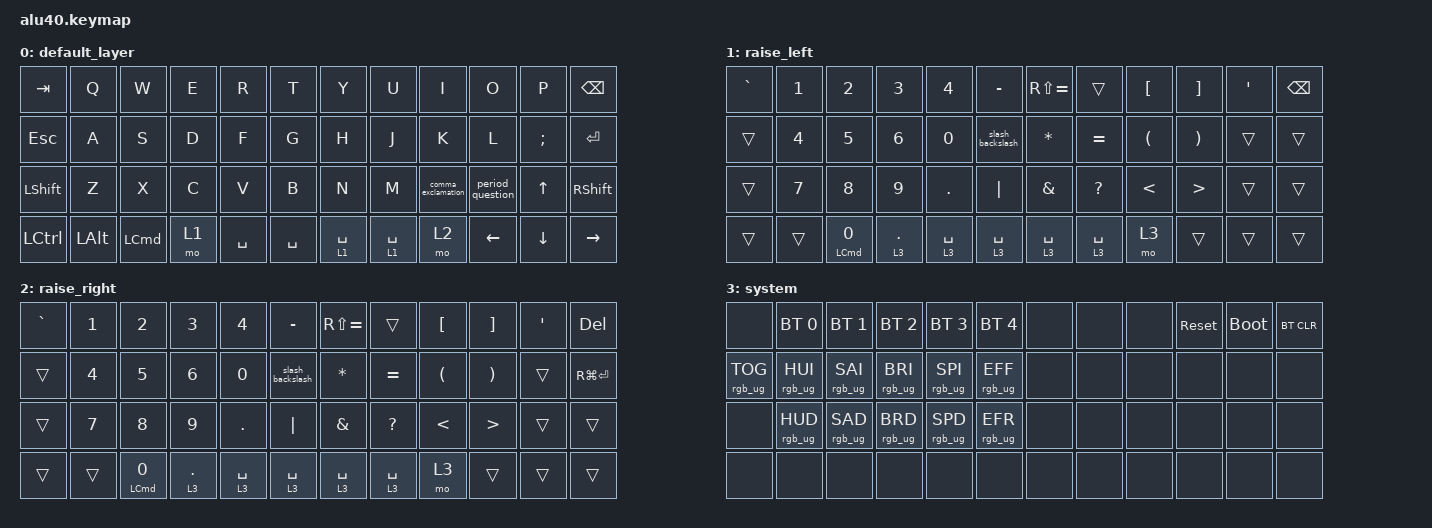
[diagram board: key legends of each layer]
/*
 * Copyright (c) 2022 The ZMK Contributors
 *
 * SPDX-License-Identifier: MIT
 */

#include <behaviors.dtsi>
#include <dt-bindings/zmk/bt.h>
#include <dt-bindings/zmk/keys.h>
#include <dt-bindings/zmk/rgb.h>

/ {
    behaviors {
        comma_exclamation: comma_exclamation {
            compatible = "zmk,behavior-mod-morph";
            label = "COMMA_EXCLAMATION";
            bindings = <&kp COMMA>, <&kp EXCL>;

            #binding-cells = <0>;
            mods = <(MOD_LSFT|MOD_RSFT)>;
        };

        period_question: period_question {
            compatible = "zmk,behavior-mod-morph";
            label = "PERIOD_QUESTION";
            bindings = <&kp PERIOD>, <&kp QUESTION>;

            #binding-cells = <0>;
            mods = <(MOD_LSFT|MOD_RSFT)>;
        };

        slash_backslash: slash_backslash {
            compatible = "zmk,behavior-mod-morph";
            label = "SLASH_BACKSLASH";
            bindings = <&kp SLASH>, <&kp BACKSLASH>;

            #binding-cells = <0>;
            mods = <(MOD_LSFT|MOD_RSFT)>;
        };

        layer_tap_rules: layer_tap_rules {
            compatible = "zmk,behavior-hold-tap";
            label = "LAYER_TAP_RULES";
            #binding-cells = <2>;
            bindings = <&lt>, <&kp>;

            tapping-term-ms = <200>;
            flavor = "balanced";
        };

        mod_tap_rules: mod_tap_rules {
            compatible = "zmk,behavior-hold-tap";
            label = "MOD_TAP_RULES";
            bindings = <&mt>, <&kp>;

            #binding-cells = <2>;
            tapping-term-ms = <200>;
            flavor = "balanced";
        };
    };

    keymap {
        compatible = "zmk,keymap";

        default_layer {
            // -----------------------------------------------------------------------------------------
            // | ESC/~ |  Q   |  W   |  E   |  R   |  T   |   Y   |  U    |  I   |  O   |   P   | BSPC  |
            // | TAB   |  A   |  S   |  D   |  F   |  G   |   H   |  J    |  K   |  L   |   ;   |  '    |
            // | SHIFT |  Z   |  X   |  C   |  V   |  B   |   N   |  M    |  ,   |  .   |   /   |RET/SFT|
            // | PLAY  | LCTL | LALT | LGUI | LOWR |     SPACE    |  RAIS | LARW | UARW | DARW  |  RARW |

            bindings = <
&kp TAB     &kp Q     &kp W     &kp E  &kp R      &kp T      &kp Y        &kp U        &kp I               &kp O             &kp P     &kp BSPC
&kp ESCAPE  &kp A     &kp S     &kp D  &kp F      &kp G      &kp H        &kp J        &kp K               &kp L             &kp SEMI  &kp ENTER
&kp LSHFT   &kp Z     &kp X     &kp C  &kp V      &kp B      &kp N        &kp M        &comma_exclamation  &period_question  &kp UP    &kp RSHFT
&kp LCTRL   &kp LALT  &kp LCMD  &mo 1  &kp SPACE  &kp SPACE  &lt 1 SPACE  &lt 1 SPACE  &mo 2               &kp LEFT          &kp DOWN  &kp RIGHT
            >;
        };

        raise_left {
            bindings = <
&kp GRAVE  &kp N1        &kp N2        &kp N3        &kp N4        &kp MINUS         &kp RS(EQUAL)  &trans        &kp LEFT_BRACKET      &kp RIGHT_BRACKET      &kp SQT  &kp BACKSPACE
&trans     &kp NUMBER_4  &kp NUMBER_5  &kp NUMBER_6  &kp NUMBER_0  &slash_backslash  &kp ASTERISK   &kp EQUAL     &kp LEFT_PARENTHESIS  &kp RIGHT_PARENTHESIS  &trans   &trans
&trans     &kp NUMBER_7  &kp NUMBER_8  &kp NUMBER_9  &kp PERIOD    &kp PIPE          &kp AMPS       &kp QUESTION  &kp LESS_THAN         &kp GREATER_THAN       &trans   &trans
&trans     &trans        &mt LCMD N0   &lt 3 PERIOD  &lt 3 SPACE   &lt 3 SPACE       &lt 3 SPACE    &lt 3 SPACE   &mo 3                 &trans                 &trans   &trans
            >;
        };

        raise_right {
            bindings = <
&kp GRAVE  &kp N1        &kp N2        &kp N3        &kp N4        &kp MINUS         &kp RS(EQUAL)  &trans        &kp LEFT_BRACKET      &kp RIGHT_BRACKET      &kp SQT  &kp DEL
&trans     &kp NUMBER_4  &kp NUMBER_5  &kp NUMBER_6  &kp NUMBER_0  &slash_backslash  &kp ASTERISK   &kp EQUAL     &kp LEFT_PARENTHESIS  &kp RIGHT_PARENTHESIS  &trans   &kp RG(ENTER)
&trans     &kp NUMBER_7  &kp NUMBER_8  &kp NUMBER_9  &kp PERIOD    &kp PIPE          &kp AMPS       &kp QUESTION  &kp LESS_THAN         &kp GREATER_THAN       &trans   &trans
&trans     &trans        &mt LCMD N0   &lt 3 PERIOD  &lt 3 SPACE   &lt 3 SPACE       &lt 3 SPACE    &lt 3 SPACE   &mo 3                 &trans                 &trans   &trans
            >;
        };

        system {
            bindings = <
&none            &bt BT_SEL 0     &bt BT_SEL 1     &bt BT_SEL 2     &bt BT_SEL 3     &bt BT_SEL 4     &none  &none  &none  &sys_reset  &bootloader  &bt BT_CLR
&rgb_ug RGB_TOG  &rgb_ug RGB_HUI  &rgb_ug RGB_SAI  &rgb_ug RGB_BRI  &rgb_ug RGB_SPI  &rgb_ug RGB_EFF  &none  &none  &none  &none       &none        &none
&none            &rgb_ug RGB_HUD  &rgb_ug RGB_SAD  &rgb_ug RGB_BRD  &rgb_ug RGB_SPD  &rgb_ug RGB_EFR  &none  &none  &none  &none       &none        &none
&none            &none            &none            &none            &none            &none            &none  &none  &none  &none       &none        &none
            >;
        };
    };
};
